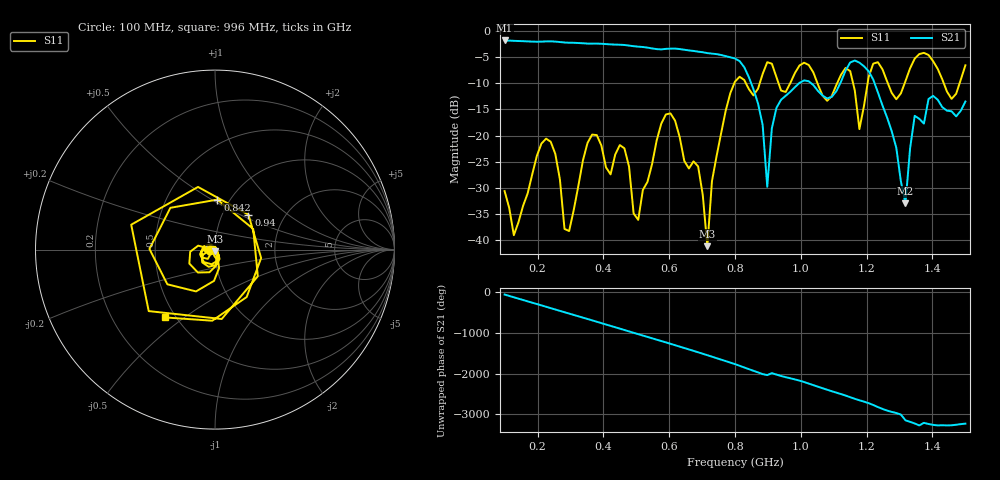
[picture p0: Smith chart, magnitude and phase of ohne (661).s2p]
! NanoVNA-App
! Date: 2025-09-25 14:25:57
! Start: 100MHz Stop: 1,5GHz Points: 101
! S-Parameter data: F S11 S21 S12 S22
# Hz S RI R 50
!  Frequency  S11_Real  S11_Imag  S21_Real  S21_Imag  S12_Real  S12_Imag  S22_Real  S22_Imag
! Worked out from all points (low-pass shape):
!   101 points, 100 MHz to 1.5 GHz, reference 50 ohm
!   highest |S21| = -1.79 dB at 100 MHz (marker M1); lowest = -32.9 dB at 1.318 GHz (marker M2)
!   |S21| within 3 dB of the highest: start of sweep to 771.6 MHz
!   lowest |S11| = -41.2 dB at 716 MHz (marker M3), VSWR 1.02, Z = 49.8 - j0.858 ohm
!   |S11| at or under -10 dB: start of sweep to 797.9 MHz; 833.2 MHz to 875.1 MHz (41.9 MHz wide, 4.91 % of centre); 1.051 GHz to 1.11 GHz (59.64 MHz wide, 5.52 % of centre) (the widest 3 of 7)
!   S12 and S22 are empty: the file has one direction only
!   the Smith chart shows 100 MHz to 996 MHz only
!   S11 on the Smith chart (normalised r, x): 100 MHz: 0.94, -0.01; 842 MHz: 0.88, +0.53; 940 MHz: 1.32, +0.56; 996 MHz: 0.44, -0.43
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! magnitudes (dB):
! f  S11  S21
! 100 MHz  -30.6  -1.8
! 128 MHz  -39.1  -1.9
! 226 MHz  -20.6  -2.0
! 296 MHz  -38.3  -2.2
! 338 MHz  -24.8  -2.3
! 464 MHz  -22.4  -2.7
! 506 MHz  -36.2  -3.0
! 576 MHz  -17.7  -3.5
! 688 MHz  -25.9  -3.9
! 716 MHz  -41.2  -4.2
! 800 MHz  -9.7  -5.3
! 842 MHz  -11.1  -8.8
! 898 MHz  -6.0  -29.8
! 940 MHz  -11.4  -13.1
! 996 MHz  -6.6  -9.9
! 1.038 GHz  -7.9  -10.3
! 1.178 GHz  -18.8  -6.0
! 1.22 GHz  -6.2  -9.3
! 1.276 GHz  -11.8  -19.2
! 1.318 GHz  -9.6  -32.9
! 1.346 GHz  -5.3  -16.2
! 1.5 GHz  -6.6  -13.5
